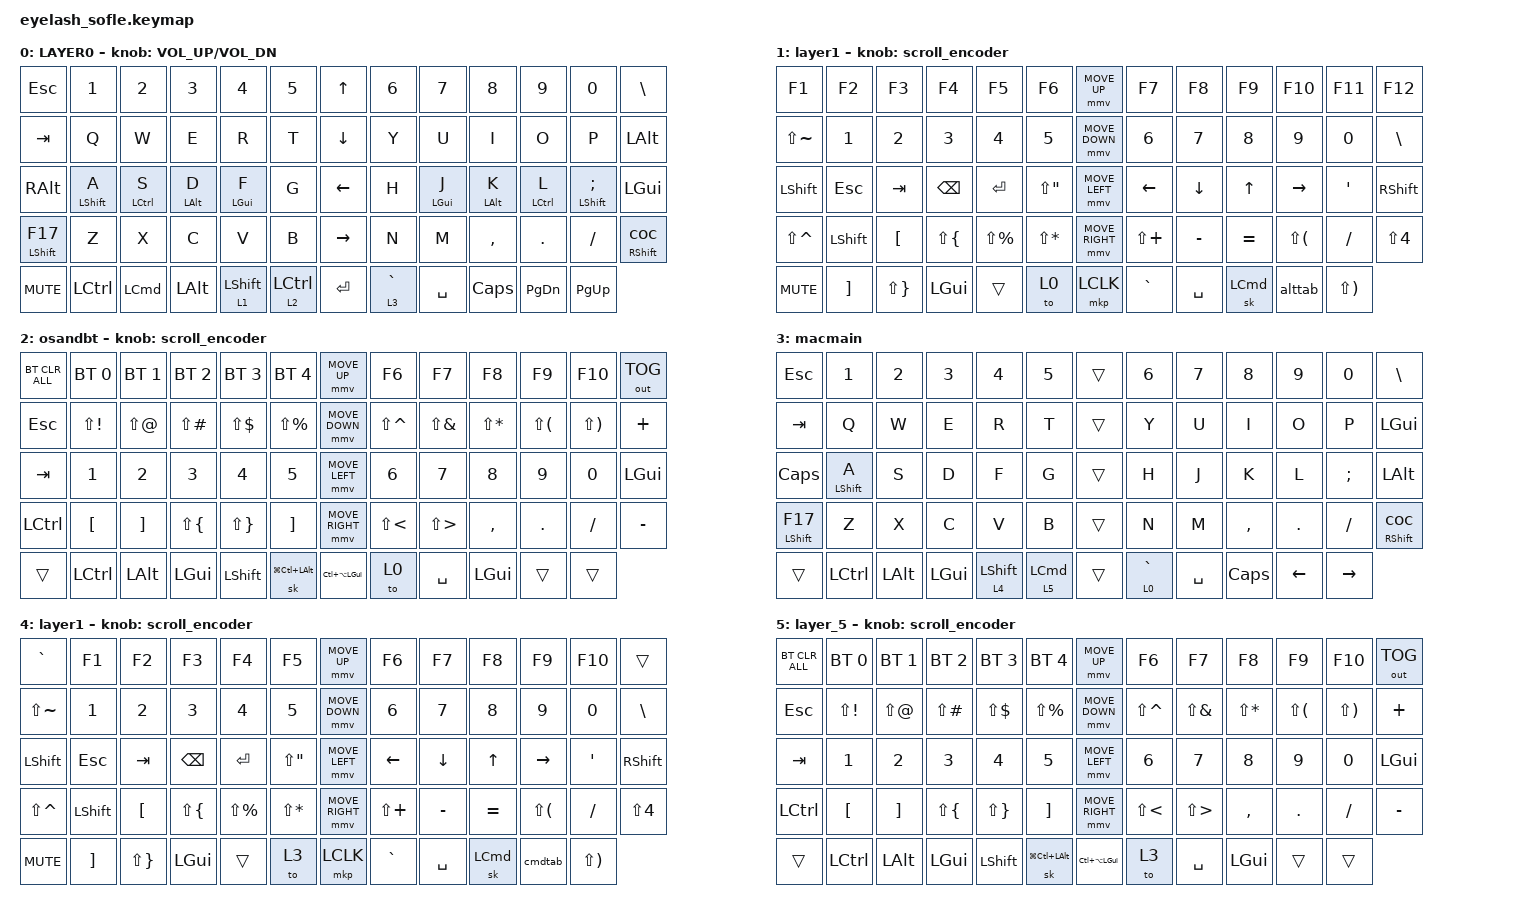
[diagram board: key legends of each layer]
#define ZMK_POINTING_DEFAULT_MOVE_VAL 1200  // 600
#define ZMK_POINTING_DEFAULT_SCRL_VAL 25   // 10

#include <input/processors.dtsi>
#include <zephyr/dt-bindings/input/input-event-codes.h>
#include <behaviors.dtsi>
#include <dt-bindings/zmk/bt.h>
#include <dt-bindings/zmk/keys.h>
#include <dt-bindings/zmk/outputs.h>
#include <dt-bindings/zmk/pointing.h>

&mmv_input_listener { input-processors = <&zip_xy_scaler 2 1>; };

&msc_input_listener { input-processors = <&zip_scroll_scaler 2 1>; };

&msc {
    acceleration-exponent = <1>;      // 0
    time-to-max-speed-ms = <100>;       // 300
    delay-ms = <0>;                   // 0
};

&mmv {
    time-to-max-speed-ms = <500>;
    acceleration-exponent = <1>;
    trigger-period-ms = <16>;
};

&lt {
    bindings = <&mo>, <&sk>;

    tapping-term-ms = <250>;
};

/ {
    scroll_encoder: scroll_encoder {
        compatible = "zmk,behavior-sensor-rotate";
        #sensor-binding-cells = <0>;
        bindings = <&msc SCRL_DOWN>, <&msc SCRL_UP>;

        tap-ms = <100>;
    };

    shiftorcoc: shiftorcoc {
        compatible = "zmk,behavior-hold-tap";
        label = "SHIFTORCOC";
        bindings = <&kp>, <&coc>;

        #binding-cells = <2>;
        tapping-term-ms = <300>;
    };

    HoldTaptokp: HoldTaptokp {
        compatible = "zmk,behavior-hold-tap";
        label = "HOLDTAPTOKP";
        bindings = <&to>, <&kp>;

        #binding-cells = <2>;
        tapping-term-ms = <300>;
    };

    ToAndSk: ToAndSk {
        compatible = "zmk,behavior-hold-tap";
        label = "TOANDSK";
        bindings = <&to>, <&sk>;

        #binding-cells = <2>;
        tapping-term-ms = <300>;
    };

    KpAndKp: KpAndKp {
        compatible = "zmk,behavior-hold-tap";
        label = "KPANDKP";
        bindings = <&kp>, <&kp>;

        #binding-cells = <2>;
        tapping-term-ms = <300>;
        quick-tap-ms = <300>;
    };

    behaviors {
    };

    macros {
        homedirectory: homedirectory {
            compatible = "zmk,behavior-macro";
            #binding-cells = <0>;
            bindings = <&kp TILDE &kp FSLH>;
            label = "HOMEDIRECTORY";
        };

        coc: coc {
            compatible = "zmk,behavior-macro";
            #binding-cells = <0>;
            bindings = <&sk LEFT_CONTROL &sk LEFT_ALT &sk LEFT_COMMAND>;
            label = "COC";
        };

        alttab: alttab {
            compatible = "zmk,behavior-macro";
            #binding-cells = <0>;
            bindings = <&sk LEFT_CONTROL &kp TAB>;
            label = "ALTTAB";
        };

        cmdtab: cmdtab {
            compatible = "zmk,behavior-macro";
            #binding-cells = <0>;
            bindings = <&sk LEFT_COMMAND &kp TAB>;
            label = "CMDTAB";
        };
    };

    keymap {
        compatible = "zmk,keymap";

        windowmain {
            bindings = <
&kp ESC                &kp N1                 &kp N2            &kp N3               &kp N4               &kp N5                     &kp UP_ARROW     &kp N6                &kp N7               &kp N8               &kp N9            &kp N0                     &kp BSLH
&kp TAB                &kp Q                  &kp W             &kp E                &kp R                &kp T                      &kp DOWN_ARROW   &kp Y                 &kp U                &kp I                &kp O             &kp P                      &kp LEFT_ALT
&kp RALT               &KpAndKp LEFT_SHIFT A  &KpAndKp LCTRL S  &KpAndKp LEFT_ALT D  &KpAndKp LEFT_GUI F  &kp G                      &kp LEFT_ARROW   &kp H                 &KpAndKp LEFT_GUI J  &KpAndKp LEFT_ALT K  &KpAndKp LCTRL L  &KpAndKp LSHIFT SEMICOLON  &kp LEFT_GUI
&shiftorcoc LSHFT F17  &kp Z                  &kp X             &kp C                &kp V                &kp B                      &kp RIGHT_ARROW  &kp N                 &kp M                &kp COMMA            &kp DOT           &kp FSLH                   &shiftorcoc RSHFT 0
&kp C_MUTE             &kp LCTRL              &kp LEFT_COMMAND  &kp LEFT_ALT         &lt 1 LEFT_SHIFT     &ToAndSk 2 LEFT_CONTROL    &kp ENTER        &HoldTaptokp 3 GRAVE  &kp SPACE            &kp CAPS             &kp PG_DN         &kp PG_UP
            >;

            sensor-bindings = <&inc_dec_kp C_VOLUME_UP C_VOL_DN>;
            display-name = "LAYER0";
        };

        windowf {
            bindings = <
&kp F1         &kp F2          &kp F3        &kp F4        &kp F5         &kp F6          &mmv MOVE_UP     &kp F7        &kp F8     &kp F9            &kp F10       &kp F11       &kp F12
&kp LS(TILDE)  &kp N1          &kp N2        &kp N3        &kp N4         &kp N5          &mmv MOVE_DOWN   &kp N6        &kp N7     &kp N8            &kp N9        &kp N0        &kp BSLH
&kp LSHFT      &kp ESC         &kp TAB       &kp BSPC      &kp RET        &kp LS(DQT)     &mmv MOVE_LEFT   &kp LEFT      &kp DOWN   &kp UP            &kp RIGHT     &kp SQT       &kp RSHFT
&kp LS(CARET)  &kp LEFT_SHIFT  &kp LBKT      &kp LS(LBRC)  &kp LS(PRCNT)  &kp LS(STAR)    &mmv MOVE_RIGHT  &kp LS(PLUS)  &kp MINUS  &kp EQUAL         &kp LS(LPAR)  &kp FSLH      &kp LS(NUMBER_4)
&kp C_MUTE     &kp RBKT        &kp LS(RBRC)  &kp LGUI      &trans         &to 0           &mkp LCLK        &kp GRAVE     &kp SPACE  &sk LEFT_COMMAND  &alttab       &kp LS(RPAR)
            >;

            display-name = "layer1";
            sensor-bindings = <&scroll_encoder>;
        };

        osandbt {
            bindings = <
&bt BT_CLR_ALL  &bt BT_SEL 0  &bt BT_SEL 1  &bt BT_SEL 2   &bt BT_SEL 3  &bt BT_SEL 4        &mmv MOVE_UP      &kp F6         &kp F7        &kp F8        &kp F9        &kp F10       &out OUT_TOG
&kp ESC         &kp LS(EXCL)  &kp LS(AT)    &kp LS(POUND)  &kp LS(DLLR)  &kp LS(PRCNT)       &mmv MOVE_DOWN    &kp LS(CARET)  &kp LS(AMPS)  &kp LS(STAR)  &kp LS(LPAR)  &kp LS(RPAR)  &kp PLUS
&kp TAB         &kp N1        &kp N2        &kp N3         &kp N4        &kp N5              &mmv MOVE_LEFT    &kp N6         &kp N7        &kp N8        &kp N9        &kp N0        &kp LGUI
&kp LCTRL       &kp LBKT      &kp RBKT      &kp LS(LBRC)   &kp LS(RBRC)  &kp RBKT            &mmv MOVE_RIGHT   &kp LS(LT)     &kp LS(GT)    &kp COMMA     &kp DOT       &kp FSLH      &kp MINUS
&trans          &kp LCTRL     &kp LALT      &kp LGUI       &kp LSHFT     &sk LG(LC(LALT))    &kp LC(LA(LGUI))  &to 0          &kp SPACE     &kp LGUI      &trans        &trans
            >;

            sensor-bindings = <&scroll_encoder>;
        };

        macmain {
            bindings = <
&kp ESC                &kp N1            &kp N2    &kp N3    &kp N4            &kp N5                     &trans  &kp N6                &kp N7     &kp N8        &kp N9          &kp N0           &kp BSLH
&kp TAB                &kp Q             &kp W     &kp E     &kp R             &kp T                      &trans  &kp Y                 &kp U      &kp I         &kp O           &kp P            &kp LEFT_GUI
&kp CAPS               &KpAndKp LSHFT A  &kp S     &kp D     &kp F             &kp G                      &trans  &kp H                 &kp J      &kp K         &kp L           &kp SEMI         &kp LEFT_ALT
&shiftorcoc LSHFT F17  &kp Z             &kp X     &kp C     &kp V             &kp B                      &trans  &kp N                 &kp M      &kp COMMA     &kp DOT         &kp FSLH         &shiftorcoc RSHFT 0
&trans                 &kp LCTRL         &kp LALT  &kp LGUI  &lt 4 LEFT_SHIFT  &ToAndSk 5 LEFT_COMMAND    &trans  &HoldTaptokp 0 GRAVE  &kp SPACE  &kp CAPSLOCK  &kp LEFT_ARROW  &kp RIGHT_ARROW
            >;
        };

        macf {
            display-name = "layer1";
            bindings = <
&kp GRAVE      &kp F1          &kp F2        &kp F3        &kp F4         &kp F5          &mmv MOVE_UP     &kp F6        &kp F7     &kp F8            &kp F9        &kp F10       &trans
&kp LS(TILDE)  &kp N1          &kp N2        &kp N3        &kp N4         &kp N5          &mmv MOVE_DOWN   &kp N6        &kp N7     &kp N8            &kp N9        &kp N0        &kp BSLH
&kp LSHFT      &kp ESC         &kp TAB       &kp BSPC      &kp RET        &kp LS(DQT)     &mmv MOVE_LEFT   &kp LEFT      &kp DOWN   &kp UP            &kp RIGHT     &kp SQT       &kp RSHFT
&kp LS(CARET)  &kp LEFT_SHIFT  &kp LBKT      &kp LS(LBRC)  &kp LS(PRCNT)  &kp LS(STAR)    &mmv MOVE_RIGHT  &kp LS(PLUS)  &kp MINUS  &kp EQUAL         &kp LS(LPAR)  &kp FSLH      &kp LS(NUMBER_4)
&kp C_MUTE     &kp RBKT        &kp LS(RBRC)  &kp LGUI      &trans         &to 3           &mkp LCLK        &kp GRAVE     &kp SPACE  &sk LEFT_COMMAND  &cmdtab       &kp LS(RPAR)
            >;

            sensor-bindings = <&scroll_encoder>;
        };

        layer_5 {
            bindings = <
&bt BT_CLR_ALL  &bt BT_SEL 0  &bt BT_SEL 1  &bt BT_SEL 2   &bt BT_SEL 3  &bt BT_SEL 4        &mmv MOVE_UP      &kp F6         &kp F7        &kp F8        &kp F9        &kp F10       &out OUT_TOG
&kp ESC         &kp LS(EXCL)  &kp LS(AT)    &kp LS(POUND)  &kp LS(DLLR)  &kp LS(PRCNT)       &mmv MOVE_DOWN    &kp LS(CARET)  &kp LS(AMPS)  &kp LS(STAR)  &kp LS(LPAR)  &kp LS(RPAR)  &kp PLUS
&kp TAB         &kp N1        &kp N2        &kp N3         &kp N4        &kp N5              &mmv MOVE_LEFT    &kp N6         &kp N7        &kp N8        &kp N9        &kp N0        &kp LGUI
&kp LCTRL       &kp LBKT      &kp RBKT      &kp LS(LBRC)   &kp LS(RBRC)  &kp RBKT            &mmv MOVE_RIGHT   &kp LS(LT)     &kp LS(GT)    &kp COMMA     &kp DOT       &kp FSLH      &kp MINUS
&trans          &kp LCTRL     &kp LALT      &kp LGUI       &kp LSHFT     &sk LG(LC(LALT))    &kp LC(LA(LGUI))  &to 3          &kp SPACE     &kp LGUI      &trans        &trans
            >;

            sensor-bindings = <&scroll_encoder>;
        };
    };
};
